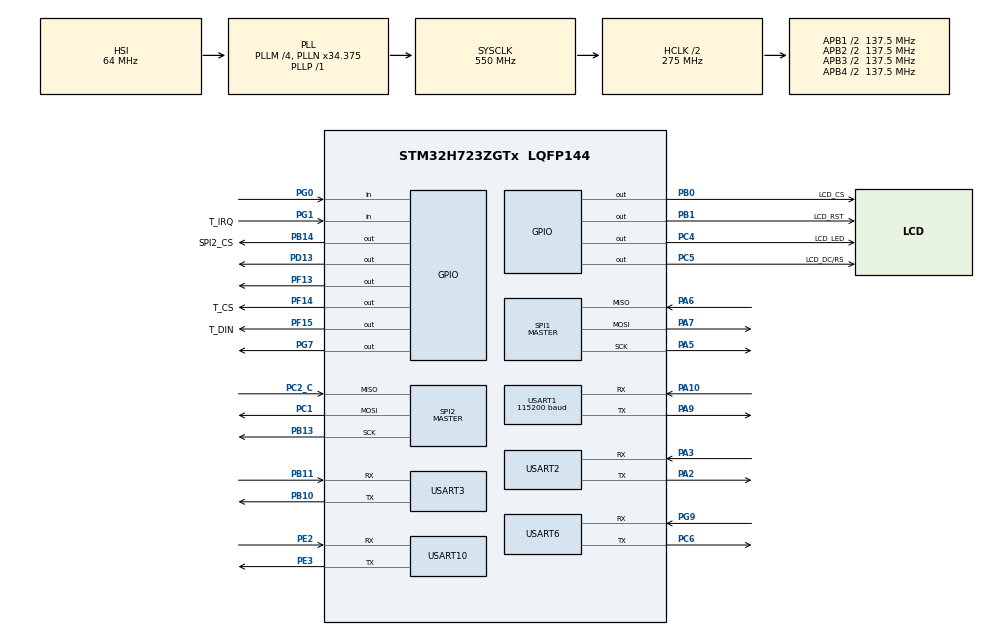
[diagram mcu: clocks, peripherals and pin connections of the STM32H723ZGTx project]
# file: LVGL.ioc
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CORTEX_M7.CPU_DCache=Enabled
CORTEX_M7.CPU_ICache=Enabled
CORTEX_M7.default_mode_Activation=1
Dma.Request0=SPI1_TX
Dma.Request1=SPI1_RX
Dma.Request2=USART2_RX
Dma.Request3=USART3_TX
Dma.Request4=USART3_RX
Dma.SPI1_RX.1.Direction=DMA_PERIPH_TO_MEMORY
Dma.SPI1_RX.1.EventEnable=DISABLE
Dma.SPI1_RX.1.FIFOMode=DMA_FIFOMODE_DISABLE
Dma.SPI1_RX.1.Instance=DMA1_Stream3
Dma.SPI1_RX.1.MemDataAlignment=DMA_MDATAALIGN_BYTE
Dma.SPI1_RX.1.MemInc=DMA_MINC_ENABLE
Dma.SPI1_RX.1.Mode=DMA_NORMAL
Dma.SPI1_RX.1.PeriphDataAlignment=DMA_PDATAALIGN_BYTE
Dma.SPI1_RX.1.PeriphInc=DMA_PINC_DISABLE
Dma.SPI1_RX.1.Polarity=HAL_DMAMUX_REQ_GEN_RISING
Dma.SPI1_RX.1.Priority=DMA_PRIORITY_LOW
Dma.SPI1_RX.1.RequestNumber=1
Dma.SPI1_RX.1.SignalID=NONE
Dma.SPI1_RX.1.SyncEnable=DISABLE
Dma.SPI1_RX.1.SyncPolarity=HAL_DMAMUX_SYNC_NO_EVENT
Dma.SPI1_RX.1.SyncRequestNumber=1
Dma.SPI1_RX.1.SyncSignalID=NONE
Dma.SPI1_TX.0.Direction=DMA_MEMORY_TO_PERIPH
Dma.SPI1_TX.0.EventEnable=DISABLE
Dma.SPI1_TX.0.FIFOMode=DMA_FIFOMODE_DISABLE
Dma.SPI1_TX.0.Instance=DMA1_Stream0
Dma.SPI1_TX.0.MemDataAlignment=DMA_MDATAALIGN_BYTE
Dma.SPI1_TX.0.MemInc=DMA_MINC_ENABLE
Dma.SPI1_TX.0.Mode=DMA_NORMAL
Dma.SPI1_TX.0.PeriphDataAlignment=DMA_PDATAALIGN_BYTE
Dma.SPI1_TX.0.PeriphInc=DMA_PINC_DISABLE
Dma.SPI1_TX.0.Polarity=HAL_DMAMUX_REQ_GEN_RISING
Dma.SPI1_TX.0.Priority=DMA_PRIORITY_LOW
Dma.SPI1_TX.0.RequestNumber=1
Dma.SPI1_TX.0.SignalID=NONE
Dma.SPI1_TX.0.SyncEnable=DISABLE
Dma.SPI1_TX.0.SyncPolarity=HAL_DMAMUX_SYNC_NO_EVENT
Dma.SPI1_TX.0.SyncRequestNumber=1
Dma.SPI1_TX.0.SyncSignalID=NONE
Dma.USART2_RX.2.Direction=DMA_PERIPH_TO_MEMORY
Dma.USART2_RX.2.EventEnable=DISABLE
Dma.USART2_RX.2.FIFOMode=DMA_FIFOMODE_DISABLE
Dma.USART2_RX.2.Instance=DMA1_Stream1
Dma.USART2_RX.2.MemDataAlignment=DMA_MDATAALIGN_BYTE
Dma.USART2_RX.2.MemInc=DMA_MINC_ENABLE
Dma.USART2_RX.2.Mode=DMA_NORMAL
Dma.USART2_RX.2.PeriphDataAlignment=DMA_PDATAALIGN_BYTE
Dma.USART2_RX.2.PeriphInc=DMA_PINC_DISABLE
Dma.USART2_RX.2.Polarity=HAL_DMAMUX_REQ_GEN_RISING
Dma.USART2_RX.2.Priority=DMA_PRIORITY_VERY_HIGH
Dma.USART2_RX.2.RequestNumber=1
Dma.USART2_RX.2.SignalID=NONE
Dma.USART2_RX.2.SyncEnable=DISABLE
Dma.USART2_RX.2.SyncPolarity=HAL_DMAMUX_SYNC_NO_EVENT
Dma.USART2_RX.2.SyncRequestNumber=1
Dma.USART2_RX.2.SyncSignalID=NONE
Dma.USART3_RX.4.Direction=DMA_PERIPH_TO_MEMORY
Dma.USART3_RX.4.EventEnable=DISABLE
Dma.USART3_RX.4.FIFOMode=DMA_FIFOMODE_DISABLE
Dma.USART3_RX.4.Instance=DMA1_Stream4
Dma.USART3_RX.4.MemDataAlignment=DMA_MDATAALIGN_BYTE
Dma.USART3_RX.4.MemInc=DMA_MINC_ENABLE
Dma.USART3_RX.4.Mode=DMA_NORMAL
Dma.USART3_RX.4.PeriphDataAlignment=DMA_PDATAALIGN_BYTE
Dma.USART3_RX.4.PeriphInc=DMA_PINC_DISABLE
Dma.USART3_RX.4.Polarity=HAL_DMAMUX_REQ_GEN_RISING
Dma.USART3_RX.4.Priority=DMA_PRIORITY_VERY_HIGH
Dma.USART3_RX.4.RequestNumber=1
Dma.USART3_RX.4.SignalID=NONE
Dma.USART3_RX.4.SyncEnable=DISABLE
Dma.USART3_RX.4.SyncPolarity=HAL_DMAMUX_SYNC_NO_EVENT
Dma.USART3_RX.4.SyncRequestNumber=1
Dma.USART3_RX.4.SyncSignalID=NONE
Dma.USART3_TX.3.Direction=DMA_MEMORY_TO_PERIPH
Dma.USART3_TX.3.EventEnable=DISABLE
Dma.USART3_TX.3.FIFOMode=DMA_FIFOMODE_DISABLE
Dma.USART3_TX.3.Instance=DMA1_Stream2
Dma.USART3_TX.3.MemDataAlignment=DMA_MDATAALIGN_BYTE
Dma.USART3_TX.3.MemInc=DMA_MINC_ENABLE
Dma.USART3_TX.3.Mode=DMA_NORMAL
Dma.USART3_TX.3.PeriphDataAlignment=DMA_PDATAALIGN_BYTE
Dma.USART3_TX.3.PeriphInc=DMA_PINC_DISABLE
Dma.USART3_TX.3.Polarity=HAL_DMAMUX_REQ_GEN_RISING
Dma.USART3_TX.3.Priority=DMA_PRIORITY_MEDIUM
Dma.USART3_TX.3.RequestNumber=1
Dma.USART3_TX.3.SignalID=NONE
Dma.USART3_TX.3.SyncEnable=DISABLE
Dma.USART3_TX.3.SyncPolarity=HAL_DMAMUX_SYNC_NO_EVENT
Dma.USART3_TX.3.SyncRequestNumber=1
Dma.USART3_TX.3.SyncSignalID=NONE
Mcu.Family=STM32H7
Mcu.Name=STM32H723ZGTx
Mcu.Package=LQFP144
NVIC.DMA1_Stream0_IRQn=true\:0\:0\:false\:false\:true\:false\:true\:true
NVIC.DMA1_Stream1_IRQn=true\:0\:0\:false\:false\:true\:false\:true\:true
NVIC.DMA1_Stream2_IRQn=true\:0\:0\:false\:false\:true\:false\:true\:true
NVIC.DMA1_Stream3_IRQn=true\:0\:0\:false\:false\:true\:false\:true\:true
NVIC.DMA1_Stream4_IRQn=true\:0\:0\:false\:false\:true\:false\:true\:true
NVIC.PriorityGroup=NVIC_PRIORITYGROUP_4
NVIC.SPI1_IRQn=true\:0\:0\:false\:false\:true\:false\:true\:true
NVIC.TIM6_DAC_IRQn=true\:0\:0\:false\:false\:true\:true\:true\:true
NVIC.TIM7_IRQn=true\:0\:0\:false\:false\:true\:true\:true\:true
NVIC.TIM8_UP_TIM13_IRQn=true\:2\:0\:true\:false\:true\:true\:true\:true
NVIC.USART10_IRQn=true\:0\:0\:false\:false\:true\:true\:true\:true
NVIC.USART1_IRQn=true\:0\:0\:false\:false\:true\:true\:true\:true
NVIC.USART2_IRQn=true\:0\:0\:false\:false\:true\:true\:true\:true
NVIC.USART3_IRQn=true\:0\:0\:false\:false\:true\:true\:true\:true
NVIC.USART6_IRQn=true\:0\:0\:false\:false\:true\:true\:true\:true
PA10.GPIO_Speed=GPIO_SPEED_FREQ_VERY_HIGH
PA10.Mode=Asynchronous
PA10.Signal=USART1_RX
PA13(JTMS/SWDIO).Mode=Serial_Wire
PA13(JTMS/SWDIO).Signal=DEBUG_JTMS-SWDIO
PA14(JTCK/SWCLK).Mode=Serial_Wire
PA14(JTCK/SWCLK).Signal=DEBUG_JTCK-SWCLK
PA2.GPIO_Speed=GPIO_SPEED_FREQ_VERY_HIGH
PA2.Mode=Asynchronous
PA2.Signal=USART2_TX
PA3.GPIO_Speed=GPIO_SPEED_FREQ_VERY_HIGH
PA3.Mode=Asynchronous
PA3.Signal=USART2_RX
PA5.GPIO_PuPd=GPIO_NOPULL
PA5.GPIO_Speed=GPIO_SPEED_FREQ_VERY_HIGH
PA5.Mode=Full_Duplex_Master
PA5.Signal=SPI1_SCK
PA6.GPIO_PuPd=GPIO_NOPULL
PA6.GPIO_Speed=GPIO_SPEED_FREQ_VERY_HIGH
PA6.Mode=Full_Duplex_Master
PA6.Signal=SPI1_MISO
PA7.GPIO_PuPd=GPIO_NOPULL
PA7.GPIO_Speed=GPIO_SPEED_FREQ_VERY_HIGH
PA7.Mode=Full_Duplex_Master
PA7.Signal=SPI1_MOSI
PA9.GPIO_Speed=GPIO_SPEED_FREQ_VERY_HIGH
PA9.Mode=Asynchronous
PA9.Signal=USART1_TX
PB0.GPIO_Label=LCD_CS 
PB0.GPIO_ModeDefaultOutputPP=GPIO_MODE_OUTPUT_PP
PB0.GPIO_PuPd=GPIO_PULLUP
PB0.GPIO_Speed=GPIO_SPEED_FREQ_VERY_HIGH
PB0.PinState=GPIO_PIN_SET
PB0.Signal=GPIO_Output
PB1.GPIO_Label=LCD_RST
PB1.GPIO_ModeDefaultOutputPP=GPIO_MODE_OUTPUT_PP
PB1.GPIO_PuPd=GPIO_PULLUP
PB1.GPIO_Speed=GPIO_SPEED_FREQ_VERY_HIGH
PB1.PinState=GPIO_PIN_SET
PB1.Signal=GPIO_Output
PB10.Mode=Asynchronous
PB10.Signal=USART3_TX
PB11.Mode=Asynchronous
PB11.Signal=USART3_RX
PB13.GPIO_Speed=GPIO_SPEED_FREQ_VERY_HIGH
PB13.Mode=Full_Duplex_Master
PB13.Signal=SPI2_SCK
PB14.GPIO_Label=SPI2_CS
PB14.GPIO_PuPd=GPIO_PULLUP
PB14.GPIO_Speed=GPIO_SPEED_FREQ_VERY_HIGH
PB14.PinState=GPIO_PIN_SET
PB14.Signal=GPIO_Output
PC1.GPIO_Speed=GPIO_SPEED_FREQ_VERY_HIGH
PC1.Mode=Full_Duplex_Master
PC1.Signal=SPI2_MOSI
PC14-OSC32_IN.Mode=LSE-External-Oscillator
PC14-OSC32_IN.Signal=RCC_OSC32_IN
PC15-OSC32_OUT.Mode=LSE-External-Oscillator
PC15-OSC32_OUT.Signal=RCC_OSC32_OUT
PC2_C.GPIO_Speed=GPIO_SPEED_FREQ_VERY_HIGH
PC2_C.Mode=Full_Duplex_Master
PC2_C.Signal=SPI2_MISO
PC4.GPIO_Label=LCD_LED
PC4.GPIO_ModeDefaultOutputPP=GPIO_MODE_OUTPUT_PP
PC4.GPIO_PuPd=GPIO_PULLUP
PC4.GPIO_Speed=GPIO_SPEED_FREQ_VERY_HIGH
PC4.PinState=GPIO_PIN_SET
PC4.Signal=GPIO_Output
PC5.GPIO_Label=LCD_DC/RS
PC5.GPIO_ModeDefaultOutputPP=GPIO_MODE_OUTPUT_PP
PC5.GPIO_PuPd=GPIO_PULLUP
PC5.GPIO_Speed=GPIO_SPEED_FREQ_VERY_HIGH
PC5.PinState=GPIO_PIN_SET
PC5.Signal=GPIO_Output
PC6.Mode=Asynchronous
PC6.Signal=USART6_TX
PD13.GPIO_ModeDefaultOutputPP=GPIO_MODE_OUTPUT_PP
PD13.GPIO_PuPd=GPIO_PULLUP
PD13.GPIO_Speed=GPIO_SPEED_FREQ_VERY_HIGH
PD13.PinState=GPIO_PIN_SET
PD13.Signal=GPIO_Output
PE2.Mode=Asynchronous
PE2.Signal=USART10_RX
PE3.Mode=Asynchronous
PE3.Signal=USART10_TX
PF13.Signal=GPIO_Output
PF14.GPIO_Label=T_CS
PF14.GPIO_ModeDefaultOutputPP=GPIO_MODE_OUTPUT_PP
PF14.GPIO_PuPd=GPIO_NOPULL
PF14.GPIO_Speed=GPIO_SPEED_FREQ_VERY_HIGH
PF14.PinState=GPIO_PIN_SET
PF14.Signal=GPIO_Output
PF15.GPIO_Label=T_DIN
PF15.GPIO_ModeDefaultOutputPP=GPIO_MODE_OUTPUT_PP
PF15.GPIO_PuPd=GPIO_NOPULL
PF15.GPIO_Speed=GPIO_SPEED_FREQ_VERY_HIGH
PF15.PinState=GPIO_PIN_SET
PF15.Signal=GPIO_Output
PG0.Signal=GPIO_Input
PG1.GPIO_Label=T_IRQ
PG1.GPIO_PuPd=GPIO_PULLUP
PG1.Signal=GPIO_Input
PG7.GPIO_PuPd=GPIO_PULLUP
PG7.GPIO_Speed=GPIO_SPEED_FREQ_VERY_HIGH
PG7.Signal=GPIO_Output
PG9.Mode=Asynchronous
PG9.Signal=USART6_RX
PH0-OSC_IN.Mode=HSE-External-Oscillator
PH0-OSC_IN.Signal=RCC_OSC_IN
PH1-OSC_OUT.Mode=HSE-External-Oscillator
PH1-OSC_OUT.Signal=RCC_OSC_OUT
ProjectManager.HeapSize=0x2000
ProjectManager.StackSize=0x4000
ProjectManager.TargetToolchain=MDK-ARM V5.32
RCC.ADCFreq_Value=129000000
RCC.APB1Freq_Value=137500000
RCC.APB2Freq_Value=137500000
RCC.APB3Freq_Value=137500000
RCC.APB4Freq_Value=137500000
RCC.CortexFreq_Value=550000000
RCC.D1PPRE=RCC_APB3_DIV2
RCC.D2PPRE1=RCC_APB1_DIV2
RCC.D2PPRE2=RCC_APB2_DIV2
RCC.D3PPRE=RCC_APB4_DIV2
RCC.DIVM1=4
RCC.DIVN1=34
RCC.DIVP1=1
RCC.DIVQ1=3
RCC.HCLKFreq_Value=275000000
RCC.HPRE=RCC_HCLK_DIV2
RCC.HSE_VALUE=25000000
RCC.PLL2FRACN=0
RCC.PLL3FRACN=0
RCC.PLLFRACN=3072
RCC.SYSCLKFreq_VALUE=550000000
RCC.SYSCLKSource=RCC_SYSCLKSOURCE_PLLCLK
RCC.USBFreq_Value=183333333.33333334
SPI1.BaudRatePrescaler=SPI_BAUDRATEPRESCALER_4
SPI1.CLKPhase=SPI_PHASE_1EDGE
SPI1.CLKPolarity=SPI_POLARITY_LOW
SPI1.CalculateBaudRate=45.833332 MBits/s
SPI1.DataSize=SPI_DATASIZE_8BIT
SPI1.Direction=SPI_DIRECTION_2LINES
SPI1.Mode=SPI_MODE_MASTER
SPI1.NSSPMode=SPI_NSS_PULSE_DISABLE
SPI1.VirtualType=VM_MASTER
SPI2.BaudRatePrescaler=SPI_BAUDRATEPRESCALER_4
SPI2.CalculateBaudRate=45.833332 MBits/s
SPI2.DataSize=SPI_DATASIZE_8BIT
SPI2.Direction=SPI_DIRECTION_2LINES
SPI2.Mode=SPI_MODE_MASTER
SPI2.VirtualType=VM_MASTER
TIM13.Period=1000
TIM13.Prescaler=274
TIM6.AutoReloadPreload=TIM_AUTORELOAD_PRELOAD_DISABLE
TIM6.Period=1000
TIM6.Prescaler=274
TIM7.Period=65535
TIM7.Prescaler=274
USART1.BaudRate=115200
USART1.VirtualMode-Asynchronous=VM_ASYNC
USART10.VirtualMode-Asynchronous=VM_ASYNC
USART2.VirtualMode-Asynchronous=VM_ASYNC
USART3.VirtualMode-Asynchronous=VM_ASYNC
USART6.VirtualMode-Asynchronous=VM_ASYNC
VP_MEMORYMAP_VS_MEMORYMAP.Mode=CurAppReg
VP_TIM13_VS_ClockSourceINT.Mode=Enable_Timer
VP_TIM6_VS_ClockSourceINT.Mode=Enable_Timer
VP_TIM7_VS_ClockSourceINT.Mode=Enable_Timer
board=custom

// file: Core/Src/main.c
/* USER CODE BEGIN Header */
/**
 ******************************************************************************
 * @file           : main.c
 * @brief          : Main program body
 ******************************************************************************
 * @attention
 *
 * Copyright (c) 2025 STMicroelectronics.
 * All rights reserved.
 *
 * This software is licensed under terms that can be found in the LICENSE file
 * in the root directory of this software component.
 * If no LICENSE file comes with this software, it is provided AS-IS.
 *
 ******************************************************************************
 */
/* USER CODE END Header */
#include "main.h"
#include "dma.h"
#include "spi.h"
#include "tim.h"
#include "usart.h"
#include "gpio.h"

/* USER CODE BEGIN Includes */
#include "lcd.h"
#include "sys.h"
#include "..\Core\lvgl\src\lvgl.h"
#include "My_Debug.h"
#include "My_LVGL.h"
#include "My_Data_New.h"
#include "w25q64.h"
#include <stdio.h>
#include <time.h>
/* USER CODE END Includes */

void SystemClock_Config(void);
static void MPU_Config(void);
/* USER CODE BEGIN PFP */
static void USART3_Test_Task(void);
static void My_TimerTask_Handler(void);

/* USER CODE END PFP */

/* USER CODE BEGIN 0 */
#define AXI_SRAM_VAR __attribute__((section(".axi_sram"))) // buf内存位置优化,似乎没用
#define SendData_Time 10000                                 // 每30s发送一次水质数据
#define StatusReport_Time 5000                             // 每60s发送一次在线状态

AXI_SRAM_VAR static uint8_t buf1[OneStepSize * OnePointSize_Lvgl] = {1}; // 第一帧缓冲区
AXI_SRAM_VAR static uint8_t buf2[OneStepSize * OnePointSize_Lvgl] = {1}; // 第二帧缓冲区

void my_flush_cb(lv_display_t *display, const lv_area_t *area, uint8_t *px_map);

/* ===== UART 接收缓冲区：必须 32 字节对齐（STM32H7 D-Cache Line = 32B）===== */
/* 不对齐会导致 SCB_InvalidateDCache 覆盖相邻变量的 Cache Line，造成数据随机损坏 */
__attribute__((aligned(32))) volatile uint8_t uart1_rx_buf[512];
volatile int16_t uart1_ins;
__attribute__((aligned(32))) volatile uint8_t uart2_rx_buf[512];
volatile int16_t uart2_ins;
__attribute__((aligned(32))) volatile uint8_t uart3_rx_buf[512];
volatile int16_t uart3_ins;
/* USART3 RX DMA 累积接收标志：ISR 置位，主循环处理 */
static volatile bool uart3_rx_updated = false;

/* ===== 定时器触发标志（替代 ISR 中的阻塞操作）===== */
static volatile bool flag_send_water_data = false;
static volatile bool flag_request_time = false;
static volatile bool flag_report_status = false;

uint64_t UNX_Now_Time = 0; // 当前时间戳
static const char *keys[] = {"TDS", "COD", "UV254", "pH", "Tem", "Tur", "air_temp", "air_hum", "pressure", "altitude"};

/* ===== W25Q64 烧录模式 ===== */
static volatile bool g_w25q64_burn_mode = false;

/* ISR 直接处理协议, Flash 写入也在 ISR 中完成 */
static uint8_t  burn_buf[2060];   /* 数据缓冲 */
static uint16_t burn_idx;
static uint8_t  burn_st;          /* 0=cmd, 1=info, 2=data */
static uint32_t burn_addr;
static uint32_t burn_total;
static uint16_t burn_dlen;
static uint16_t burn_dcnt;
static uint32_t burn_daddr;
static uint8_t  burn_dcrc;

static void burn_tx(uint8_t b) {
    while ((USART1->ISR & USART_ISR_TXE_TXFNF) == 0);
    USART1->TDR = b;
}

/* ISR 每收到一字节调用 */
static void burn_isr_feed(uint8_t b)
{
    switch (burn_st) {
    case 0:
        if (b == 0x55) { burn_tx(0xAA); }
        else if (b == 0xA0) { burn_st = 1; burn_idx = 0; }
        else if (b == 0xA5) { burn_st = 2; burn_idx = 0; burn_buf[0] = 0xA5; }
        else if (b == 0xA1) {
            uint8_t vb[256]; W25Q64_ReadData(burn_addr, vb, 256);
            uint8_t ok = 0; for (int i=0;i<256;i++) if(vb[i]!=0xFF){ok=1;break;}
            burn_tx(ok?0x06:0x15); g_w25q64_burn_mode = false;
        }
        break;
    case 1: /* INFO: PC发 [0xA0][addr_4B][size_4B][crc_1B] */
        burn_buf[burn_idx++] = b;
        if (burn_idx >= 9) {
            burn_st = 0; burn_idx = 0;
            /* CRC = XOR of addr+size (前8字节), 与 Python 一致 */
            uint8_t crc = 0; for (int i=0;i<8;i++) crc ^= burn_buf[i];
            if (crc == burn_buf[8]) {
                burn_addr  = ((uint32_t)burn_buf[0]<<24)|((uint32_t)burn_buf[1]<<16)|((uint32_t)burn_buf[2]<<8)|burn_buf[3];
                burn_total = ((uint32_t)burn_buf[4]<<24)|((uint32_t)burn_buf[5]<<16)|((uint32_t)burn_buf[6]<<8)|burn_buf[7];
                W25Q64_EraseRange(burn_addr, burn_total);
                burn_tx(0x06);
            } else { burn_tx(0x15); }
        }
        break;
    case 2: /* DATA: PC发 [0xA5][addr_4B][len_2B][data_N][crc_1B], 0xA5 已被状态0消费 */
        /* burn_buf 布局: [0..3]=addr, [4..5]=len, [6..6+N-1]=data */
        burn_buf[burn_idx++] = b;
        if (burn_idx == 4) {
            /* 收到4字节地址 */
        } else if (burn_idx == 6) {
            /* 收到2字节长度 */
            burn_daddr = ((uint32_t)burn_buf[0]<<24)|((uint32_t)burn_buf[1]<<16)|((uint32_t)burn_buf[2]<<8)|burn_buf[3];
            burn_dlen  = ((uint16_t)burn_buf[4]<<8) | burn_buf[5];
            burn_dcnt  = 0;
        } else if (burn_idx >= 7) {
            /* 收到数据字节 (burn_idx==7 是第一个数据字节) */
            uint16_t data_idx = burn_idx - 7;
            if (data_idx < burn_dlen && data_idx < 2048) {
                burn_buf[6 + data_idx] = b;  /* 从 burn_buf[6] 开始存数据 */
            }
            /* 判断是否收完: 地址4B + 长度2B + 数据N字节 + CRC1B */
            if (burn_idx >= (uint16_t)(7 + burn_dlen)) {
                /* 收到 CRC 字节 */
                burn_st = 0; burn_idx = 0;
                /* CRC = XOR of data bytes only (与Python一致) */
                uint8_t crc = 0;
                for (uint16_t i = 0; i < burn_dlen; i++) crc ^= burn_buf[6 + i];
                if (crc == b) {
                    W25Q64_WriteNoErase(burn_daddr, &burn_buf[6], burn_dlen);
                    burn_tx(0x06);
                } else { burn_tx(0x15); }
            }
        }
        break;
    }
}

/* USER CODE END 0 */

int main(void)
{

  /* MPU Configuration--------------------------------------------------------*/
  MPU_Config();

  /* Enable the CPU Cache */

  /* Enable I-Cache---------------------------------------------------------*/
  SCB_EnableICache();

  /* Enable D-Cache---------------------------------------------------------*/
  SCB_EnableDCache();

  /* MCU Configuration--------------------------------------------------------*/

  /* Reset of all peripherals, Initializes the Flash interface and the Systick. */
  HAL_Init();

  /* Configure the system clock */
  SystemClock_Config();

  /* Initialize all configured peripherals */
  MX_GPIO_Init();
  MX_DMA_Init();
  MX_SPI1_Init();
  MX_TIM6_Init();
  MX_USART1_UART_Init();
  MX_TIM7_Init();
  MX_USART2_UART_Init();
  MX_TIM13_Init();
  MX_SPI2_Init();
  MX_USART3_UART_Init();
  MX_USART6_UART_Init();
  MX_USART10_UART_Init();
  /* USER CODE BEGIN 2 */
  HAL_TIM_Base_Start_IT(&htim6); // 使能定时器驱动,提供LVGL时基
  HAL_TIM_Base_Start_IT(&htim7);
  HAL_TIM_Base_Start_IT(&htim13);

  HAL_UART_Receive_IT(&huart1, (uint8_t *)uart1_rx_buf, 1);
  HAL_UARTEx_ReceiveToIdle_DMA(&huart2, (uint8_t *)uart2_rx_buf, sizeof(uart2_rx_buf));
  HAL_UARTEx_ReceiveToIdle_DMA(&huart3, (uint8_t *)uart3_rx_buf, sizeof(uart3_rx_buf));

  // My_cJSON_Text();

  W25Q64_Init();
  {
      uint8_t MID; uint16_t DID;
      for (int retry = 0; retry < 5; retry++) {
          W25Q64_ReadID(&MID, &DID);
          if (MID == 0xEF && DID == 0x4017) break;
          HAL_Delay(10);
      }
      printf("[W25Q64] MID=0x%02X DID=0x%04X\r\n", MID, DID);
      if (MID == 0xEF && DID == 0x4017) {
#if 0  /* 1=烧录模式, 0=跳过 */
          printf("[W25Q64] 烧录模式, 请运行 burn_font_to_flash.py\r\n");
          g_w25q64_burn_mode = true;
          while (g_w25q64_burn_mode) { HAL_Delay(100); }
          printf("[W25Q64] 烧录完成!\r\n");
#endif

          /* === 验证 Flash 数据: 打印前256字节和几个字形的位图 === */
          printf("\r\n========== W25Q64 Flash Dump ==========\r\n");
          {
              uint8_t dump[256];
              W25Q64_ReadData(0x000000, dump, 256);
              printf("[Flash 0x000000~0x0000FF]:\r\n");
              for (int i = 0; i < 256; i += 16) {
                  printf("  %04X: ", i);
                  for (int j = 0; j < 16 && (i+j) < 256; j++) {
                      printf("%02X ", dump[i+j]);
                  }
                  printf("\r\n");
              }
              /* 对比: 显示开头的几个 ASCII 可识别模式 */
              printf("[Flash 前32字节 raw]: ");
              for (int i = 0; i < 32; i++) printf("%02X ", dump[i]);
              printf("\r\n");
          }
          printf("========== Flash Dump End ==========\r\n\r\n");
      }
  }

  LCD_Init(); // 初始化LCD
  TP_Init();

  MQTT_Subscribe_Downlink(&huart2);
  MQTT_Request_Time(&huart2);
  MQTT_Report_Status(&huart2, "online", 0);

  lv_init(); // 初始化LVGL

  lv_display_t *display1 = lv_display_create(480, 320);

  lv_display_set_flush_cb(display1, my_flush_cb);
  lv_display_set_buffers(display1, buf1, buf2, sizeof(buf1), LV_DISPLAY_RENDER_MODE_PARTIAL);

  /* Create and set up at least one display before you register any input devices. */
  lv_indev_t *indev = lv_indev_create();           /* Create input device connected to Default Display. */
  lv_indev_set_type(indev, LV_INDEV_TYPE_POINTER); /* Touch pad is a pointer-like device. */
  lv_indev_set_read_cb(indev, my_input_read);      /* Set driver function. */

  setup_ui();
  /* USER CODE END 2 */

  /* Infinite loop */
  /* USER CODE BEGIN WHILE */
  static char buffer[50];
  extern config_item_t config_items[MAX_CONFIG_ITEMS];

  while (1)
  {
    /* USER CODE END WHILE */

    /* USER CODE BEGIN 3 */
    lv_timer_handler();
    HAL_Delay(5);

    TimeChange();

    /* 处理定时器触发的周期性任务（替代 ISR 中的阻塞操作）*/
    My_TimerTask_Handler();

      N_My_JsonGet((char *)uart1_rx_buf, &huart1);
      N_My_JsonGet((char *)uart2_rx_buf, &huart2);

    /* USART3 累积接收：若上次 IDLE 后数据不完整，从断点继续 DMA */

    if (uart3_rx_updated)
    {
      uart3_rx_updated = false;
      /* 检查是否已收到完整 JSON（以 '}' 结尾） */
      bool complete = (uart3_ins > 0 && uart3_rx_buf[uart3_ins - 1] == '}');
      if (!complete && uart3_ins < (int16_t)(sizeof(uart3_rx_buf) - 10))
      {
        /* 数据不完整且还有空间：从断点继续 DMA 接收 */
        uint16_t remaining = sizeof(uart3_rx_buf) - uart3_ins;
        SCB_CleanInvalidateDCache_by_Addr((uint32_t *)&uart3_rx_buf[uart3_ins], remaining);
        HAL_UARTEx_ReceiveToIdle_DMA(&huart3, (uint8_t *)&uart3_rx_buf[uart3_ins], remaining);
      }
    }

    N_My_JsonGet((char *)uart3_rx_buf, &huart3);

    /* 遥杆遥控模式：进入/退出时向共享 USART3 总线的 Water1 发送静默/恢复指令 */
    {
      static bool was_active = false;
      bool is_active = joystick_screen_is_active();

      if (is_active && !was_active)
      {
        /* 遥控启动 → 令 Water1 停止 USART3 数据发送（重复3次防丢） */
        uint8_t mute_cmd[] = {0xDD, 0xDD, 0xDD};
        for (int i = 0; i < 3; i++)
        {
          HAL_UART_Transmit(&huart3, mute_cmd, 3, 100);
        }
        printf("[REMOTE] Water1 muted (x3)\r\n");
      }
      else if (!is_active && was_active)
      {
        /* 遥控退出 → 令 Water1 恢复 USART3 数据发送（重复3次防丢） */
        uint8_t unmute_cmd[] = {0xEE, 0xEE, 0xEE};
        for (int i = 0; i < 3; i++)
        {
          HAL_UART_Transmit(&huart3, unmute_cmd, 3, 100);
        }
        printf("[REMOTE] Water1 unmuted (x3)\r\n");
      }

      was_active = is_active;

      if (is_active)
      {
        USART3_Test_Task();
      }
    }

    // HAL_Delay(500);
  }
  /* USER CODE END 3 */
}

void SystemClock_Config(void)
{
  RCC_OscInitTypeDef RCC_OscInitStruct = {0};
  RCC_ClkInitTypeDef RCC_ClkInitStruct = {0};

  /** Supply configuration update enable
   */
  HAL_PWREx_ConfigSupply(PWR_LDO_SUPPLY);

  /** Configure the main internal regulator output voltage
   */
  __HAL_PWR_VOLTAGESCALING_CONFIG(PWR_REGULATOR_VOLTAGE_SCALE0);

  while (!__HAL_PWR_GET_FLAG(PWR_FLAG_VOSRDY))
  {
  }

  /** Initializes the RCC Oscillators according to the specified parameters
   * in the RCC_OscInitTypeDef structure.
   */
  RCC_OscInitStruct.OscillatorType = RCC_OSCILLATORTYPE_HSI;
  RCC_OscInitStruct.HSIState = RCC_HSI_DIV1;
  RCC_OscInitStruct.HSICalibrationValue = 64;
  RCC_OscInitStruct.PLL.PLLState = RCC_PLL_ON;
  RCC_OscInitStruct.PLL.PLLSource = RCC_PLLSOURCE_HSI;
  RCC_OscInitStruct.PLL.PLLM = 4;
  RCC_OscInitStruct.PLL.PLLN = 34;
  RCC_OscInitStruct.PLL.PLLP = 1;
  RCC_OscInitStruct.PLL.PLLQ = 3;
  RCC_OscInitStruct.PLL.PLLR = 2;
  RCC_OscInitStruct.PLL.PLLRGE = RCC_PLL1VCIRANGE_3;
  RCC_OscInitStruct.PLL.PLLVCOSEL = RCC_PLL1VCOWIDE;
  RCC_OscInitStruct.PLL.PLLFRACN = 3072;
  if (HAL_RCC_OscConfig(&RCC_OscInitStruct) != HAL_OK)
  {
    Error_Handler();
  }

  /** Initializes the CPU, AHB and APB buses clocks
   */
  RCC_ClkInitStruct.ClockType = RCC_CLOCKTYPE_HCLK | RCC_CLOCKTYPE_SYSCLK | RCC_CLOCKTYPE_PCLK1 | RCC_CLOCKTYPE_PCLK2 | RCC_CLOCKTYPE_D3PCLK1 | RCC_CLOCKTYPE_D1PCLK1;
  RCC_ClkInitStruct.SYSCLKSource = RCC_SYSCLKSOURCE_PLLCLK;
  RCC_ClkInitStruct.SYSCLKDivider = RCC_SYSCLK_DIV1;
  RCC_ClkInitStruct.AHBCLKDivider = RCC_HCLK_DIV2;
  RCC_ClkInitStruct.APB3CLKDivider = RCC_APB3_DIV2;
  RCC_ClkInitStruct.APB1CLKDivider = RCC_APB1_DIV2;
  RCC_ClkInitStruct.APB2CLKDivider = RCC_APB2_DIV2;
  RCC_ClkInitStruct.APB4CLKDivider = RCC_APB4_DIV2;

  if (HAL_RCC_ClockConfig(&RCC_ClkInitStruct, FLASH_LATENCY_3) != HAL_OK)
  {
    Error_Handler();
  }
}

/* USER CODE BEGIN 4 */
/* USART3 DMA 发送忙标志，防止重复启动 DMA */
static volatile bool usart3_tx_dma_busy = false;
/* USART3 TX DMA 发送缓冲区（32 字节对齐，确保 SCB_CleanDCache 安全）*/
__attribute__((aligned(32))) static uint8_t joystick_tx_buf[6] = {0xAAU, 0, 0, 0, 0, 0x55U};

static void USART3_Test_Task(void)
{
  static uint32_t last_tick = 0U;
  static uint8_t last_up = 0xFFU; /* 上次成功发送的值，0xFF 哨兵确保首帧必发 */
  static uint8_t last_down = 0xFFU;
  static uint8_t last_left = 0xFFU;
  static uint8_t last_right = 0xFFU;
  joystick_state_t state;
  uint8_t up = 0U;
  uint8_t down = 0U;
  uint8_t left = 0U;
  uint8_t right = 0U;

  if ((HAL_GetTick() - last_tick) < 150)
  {
    return;
  }

  last_tick = HAL_GetTick();

  /* 上一次 DMA 发送未完成则跳过本次 */
  if (usart3_tx_dma_busy)
  {
    return;
  }

  joystick_get_state(&state);
//限幅部分
  if (state.active)
  {
    if (state.y_percent > 0)
    {
      up = (state.y_percent >= 100) ? 100U : (uint8_t)state.y_percent;
    }
    else
    {
      int16_t v = (int16_t)(-state.y_percent);
      down = (v >= 100) ? 100U : (uint8_t)v;
    }

    if (state.x_percent > 0)
    {
      right = (state.x_percent >= 100) ? 100U : (uint8_t)state.x_percent;
    }
    else
    {
      int16_t v = (int16_t)(-state.x_percent);
      left = (v >= 100) ? 100U : (uint8_t)v;
    }
  }

  /* 遥杆指令无变化则跳过发送，为共享 USART3 的其他设备让出带宽 */
  // if (up == last_up && down == last_down && left == last_left && right == last_right)
  // {
  //   return;
  // }

  /* CPU 写入发送缓冲区 */
  joystick_tx_buf[0] = 0xAAU;
  joystick_tx_buf[1] = up;
  joystick_tx_buf[2] = down;
  joystick_tx_buf[3] = left;
  joystick_tx_buf[4] = right;
  joystick_tx_buf[5] = 0x55U;

  /* STM32H7 D-Cache 一致性：CPU 写入在 Cache 中，Clean 后 DMA 才能读到 */
  SCB_CleanDCache_by_Addr((uint32_t *)joystick_tx_buf, sizeof(joystick_tx_buf));

  /* 非阻塞 DMA 发送：先置忙标志再启动，防止 DMA 瞬间完成后中断清零被覆盖 */
  usart3_tx_dma_busy = true;
  if (HAL_UART_Transmit_DMA(&huart3, joystick_tx_buf, sizeof(joystick_tx_buf)) != HAL_OK)
  {
    usart3_tx_dma_busy = false; // 启动失败，回退标志
    /* DMA 启动失败不更新 last_*，下次循环会重试发送 */
  }
  else
  {
    /* 发送成功，记录本次指令值供下次比较 */
    last_up = up;
    last_down = down;
    last_left = left;
    last_right = right;
  }
}

static uint64_t times = 0;
void HAL_TIM_PeriodElapsedCallback(TIM_HandleTypeDef *htim)
{
  // 检查是否是TIM6定时器触发的中断
  if (htim->Instance == TIM6)
  {
    lv_tick_inc(1); // 1ms触发一次,时序错误会导致lvgl卡顿
    UNX_Now_Time += 1;
  }
  if (htim->Instance == TIM13)
  {
    times++;
    /* ⚠️ 严禁在 ISR 中调用 printf / cJSON / HAL_UART_Transmit 等阻塞/非重入函数！
     *   仅设置标志位，实际工作由主循环中的 My_TimerTask_Handler() 完成。
     */
    if (times % SendData_Time == 0)
    {
      flag_send_water_data = true;
    }
    if (times % 10000 == 123)
    {
      flag_request_time = true;
    }
    if (times % StatusReport_Time == 0)
    {
      flag_report_status = true;
    }
  }
}
// SPI发送完成回调函数

/**
 * @brief 处理定时器触发的周期性任务（在主循环中调用，非 ISR 上下文）
 * @note 替代原来在 TIM13 ISR 中直接调用的 printf / cJSON / HAL_UART_Transmit
 */
static void My_TimerTask_Handler(void)
{
  if (flag_send_water_data)
  {
    flag_send_water_data = false;
    printf("[SENSOR] Send water quality data\r\n");
    Send_JSON_KeyValue(keys, 10, &huart2);
  }
  if (flag_request_time)
  {
    flag_request_time = false;
    printf("[TIME] Request time stamp\r\n");
    MQTT_Request_Time(&huart2);
  }
  if (flag_report_status)
  {
    flag_report_status = false;
    MQTT_Report_Status(&huart2, "online", (uint32_t)(HAL_GetTick() / 1000U));
  }
}

void HAL_SPI_TxCpltCallback(SPI_HandleTypeDef *hspi)
{
  if (hspi->Instance == SPI1)
  {
    LCD_CS_SET;
    spi_dma_tx_complete = 1;
  }
}

/**
 * @brief UART DMA 发送完成回调
 */
void HAL_UART_TxCpltCallback(UART_HandleTypeDef *huart)
{
  if (huart->Instance == USART3)
  {
    usart3_tx_dma_busy = false; // 清除忙标志，允许下次发送
  }
}

void HAL_UART_RxCpltCallback(UART_HandleTypeDef *huart)
{
  if (huart->Instance == USART1)
  {
    /* 烧录模式: 字节存入环形缓冲, 主循环处理 */
    if (g_w25q64_burn_mode)
    {
      burn_isr_feed((uint8_t)(uart1_rx_buf[0]));
      HAL_UART_Receive_IT(&huart1, (uint8_t *)uart1_rx_buf, 1);
      return;
    }

    /* 正常模式: 缓冲区累积 */
    if (uart1_ins >= (int16_t)(sizeof(uart1_rx_buf) - 1))
    {
      uart1_ins = -1;
    }
    uart1_ins++;
    uart1_rx_buf[uart1_ins] = '\0';
    HAL_UART_Receive_IT(&huart1, (uint8_t *)&uart1_rx_buf[uart1_ins], 1);
  }
}

/**
 * @brief USART2 DMA+IDLE 接收完成回调
 * @param huart UART 句柄
 * @param Size 接收到的字节数
 */
void HAL_UARTEx_RxEventCallback(UART_HandleTypeDef *huart, uint16_t Size)
{
  if (huart->Instance == USART2)
  {
    /* STM32H7 D-Cache 一致性：仅 Invalidate 实际接收范围（缓冲区已 32B 对齐，安全）*/
    if (Size > 0)
    {
      SCB_InvalidateDCache_by_Addr((uint32_t *)uart2_rx_buf, (int32_t)Size);
    }

    if (Size > 0 && Size < sizeof(uart2_rx_buf))
    {
      uart2_rx_buf[Size] = '\0'; // 添加字符串终止符
      uart2_ins = (int16_t)Size; // 记录接收长度
    }
    else if (Size >= sizeof(uart2_rx_buf))
    {
      // 缓冲区满，最后一个字节留给 '\0'
      uart2_rx_buf[sizeof(uart2_rx_buf) - 1] = '\0';
      uart2_ins = sizeof(uart2_rx_buf) - 1;
    }
  }
  else if (huart->Instance == USART3)
  {
    /* STM32H7 D-Cache 一致性：仅 Invalidate 实际接收范围 */
    if (Size > 0)
    {
      SCB_InvalidateDCache_by_Addr((uint32_t *)uart3_rx_buf, (int32_t)Size);
    }

    if (Size > 0)
    {
      /* 累积模式：在已有数据后追加，不覆盖 */
      int16_t current_pos = uart3_ins; /* 原子快照，防止主循环竞态 */
      int16_t new_pos = current_pos + (int16_t)Size;
      if (new_pos < (int16_t)sizeof(uart3_rx_buf))
      {
        uart3_rx_buf[new_pos] = '\0';
        /* 使用 __DSB 确保写入完成后再更新索引 */
        __DSB();
        uart3_ins = new_pos;
      }
      else
      {
        /* 缓冲区满 */
        uart3_rx_buf[sizeof(uart3_rx_buf) - 1] = '\0';
        __DSB();
        uart3_ins = (int16_t)(sizeof(uart3_rx_buf) - 1);
      }
      uart3_rx_updated = true; // 通知主循环有新数据
    }
  }
}

/* USER CODE END 4 */

/* MPU Configuration */

void MPU_Config(void)
{
  MPU_Region_InitTypeDef MPU_InitStruct = {0};

  /* Disables the MPU */
  HAL_MPU_Disable();

  /** Initializes and configures the Region and the memory to be protected
   */
  MPU_InitStruct.Enable = MPU_REGION_ENABLE;
  MPU_InitStruct.Number = MPU_REGION_NUMBER0;
  MPU_InitStruct.BaseAddress = 0x0;
  MPU_InitStruct.Size = MPU_REGION_SIZE_4GB;
  MPU_InitStruct.SubRegionDisable = 0x87;
  MPU_InitStruct.TypeExtField = MPU_TEX_LEVEL0;
  MPU_InitStruct.AccessPermission = MPU_REGION_NO_ACCESS;
  MPU_InitStruct.DisableExec = MPU_INSTRUCTION_ACCESS_DISABLE;
  MPU_InitStruct.IsShareable = MPU_ACCESS_SHAREABLE;
  MPU_InitStruct.IsCacheable = MPU_ACCESS_NOT_CACHEABLE;
  MPU_InitStruct.IsBufferable = MPU_ACCESS_NOT_BUFFERABLE;

  HAL_MPU_ConfigRegion(&MPU_InitStruct);
  /* Enables the MPU */
  HAL_MPU_Enable(MPU_PRIVILEGED_DEFAULT);
}

void Error_Handler(void)
{
  /* USER CODE BEGIN Error_Handler_Debug */
  /* User can add his own implementation to report the HAL error return state */
  __disable_irq();
  while (1)
  {
    My_Usart_Send("Error occurred");
  }
  /* USER CODE END Error_Handler_Debug */
}
